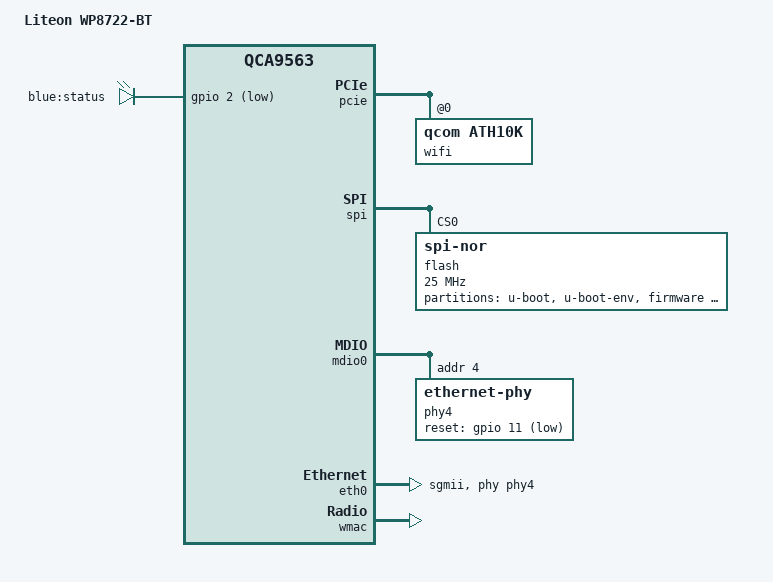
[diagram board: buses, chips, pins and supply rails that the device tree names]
// SPDX-License-Identifier: GPL-2.0-or-later OR MIT

#include "qca956x.dtsi"

#include <dt-bindings/gpio/gpio.h>
#include <dt-bindings/input/input.h>

/ {
	compatible = "liteon,wp8722-bt", "qca,ap152", "qca,qca9563";
	model = "Liteon WP8722-BT";

	aliases {
		label-mac-device = &eth0;
	};

	leds {
			compatible = "gpio-leds";
			led_status: status {
						label = "blue:status";
						gpios = <&gpio 2 GPIO_ACTIVE_LOW>;
						linux,default-trigger = "netdev";
					};
		};
};

&pcie {
	status = "okay";

	wifi@0,0 {
		compatible = "qcom,ath10k";
		reg = <0 0 0 0 0>;
		nvmem-cells = <&macaddr_art_0>, <&precal_art_5000>;
		nvmem-cell-names = "mac-address", "pre-calibration";
	};
};

&spi {
	status = "okay";

	flash@0 {
		compatible = "jedec,spi-nor";
		reg = <0>;
		spi-max-frequency = <25000000>;

		partitions {
			compatible = "fixed-partitions";
			#address-cells = <1>;
			#size-cells = <1>;

			partition@0 {
				label = "u-boot";
				reg = <0x000000 0x040000>;
				read-only;
			};

			partition@40000 {
				label = "u-boot-env";
				reg = <0x040000 0x010000>;
			};

			partition@50000 {
				label = "firmware";
				reg = <0x050000 0xfa0000>;
				compatible = "denx,uimage";
			};

			partition@ff0000 {
				label = "art";
				reg = <0xff0000 0x010000>;
				read-only;

				nvmem-layout {
					compatible = "fixed-layout";
					#address-cells = <1>;
					#size-cells = <1>;

					macaddr_art_0: macaddr@0 {
						reg = <0x0 0x6>;
					};

					cal_art_1000: calibration@1000 {
						reg = <0x1000 0x440>;
					};

					precal_art_5000: pre-calibration@5000 {
						reg = <0x5000 0x2f20>;
					};
				};
			};
		};
	};
};

&mdio0 {
	status = "okay";

	phy4: ethernet-phy@4 {
		reg = <4>;
		phy-mode = "sgmii";
		reset-gpios = <&gpio 11 GPIO_ACTIVE_LOW>;
	};
};

&eth0 {
	status = "okay";
	phy-mode = "sgmii";
	phy-handle = <&phy4>;
	pll-data = <0x03000000 0x00000101 0x00001313>;

	nvmem-cells = <&macaddr_art_0>;
	nvmem-cell-names = "mac-address";
};

&wmac {
	status = "okay";
	nvmem-cells = <&macaddr_art_0>, <&cal_art_1000>;
	nvmem-cell-names = "mac-address", "calibration";
};
